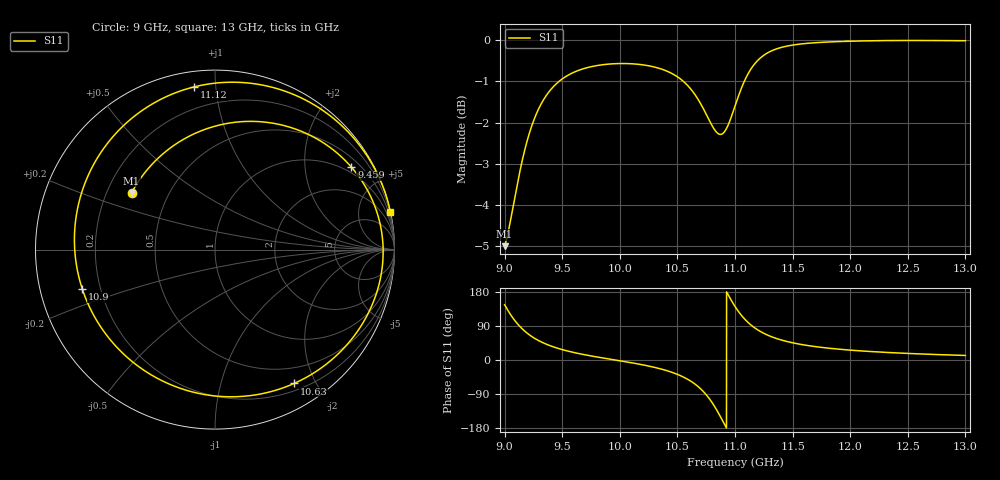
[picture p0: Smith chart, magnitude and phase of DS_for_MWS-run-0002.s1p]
! TOUCHSTONE file generated by CST DESIGN STUDIO
! Date and time: Tue Feb  4 14:35:41 2025
! Project name: C:\Work\MatlabApps\UnitCellOptimizationMatlab\CST\unitcell.cst
! Tree item: Tasks\Sweep1\SPara1\S-Parameters
! Header version: 2024
! Port assignment regex: !\s*Touchstone port\s*([0-9]+)\s*=\s*(CST MWS port|CST DES external port|CST DES block port)\s*(.+)\s* \(\"(.*)\"\)(\s*mode\s*([0-9]+))?.*
! Touchstone port assignment:
! Touchstone port 1 = CST DES external port 1 ("")
# GHz S MA R 50
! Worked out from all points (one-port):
!   4001 points, 9 GHz to 13 GHz, reference 50 ohm
!   lowest |S11| = -5.0 dB at 9 GHz (marker M1), VSWR 3.57, Z = 15.2 + j14 ohm
!   |S11| at or under -10 dB: nowhere
!   S11 on the Smith chart (normalised r, x): 9 GHz: 0.30, +0.28; 9.459 GHz: 0.79, +3.42; 10.63 GHz: 0.29, -1.72; 10.9 GHz: 0.13, -0.14; 11.12 GHz: 0.08, +0.88; 13 GHz: 0.05, +9.51
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9  0.562 145.9
9.086  0.6414 105.1
9.166  0.7273 78.5
9.3  0.828 50.4
9.459  0.8882 31.1
9.5  0.8976 27.5
9.715  0.9263 12.7
10  0.9372 -2.0
10.298  0.9283 -19.2
10.5  0.903 -37.9
10.571  0.8864 -47.9
10.634  0.8662 -59.4
10.721  0.8281 -81.8
10.784  0.7957 -104.9
10.84  0.7731 -131.3
10.898  0.7712 -163.5
10.947  0.7929 168.7
11  0.8319 141.4
11.057  0.8757 117.4
11.12  0.9142 97.2
11.199  0.9459 79.1
11.283  0.9656 65.7
11.381  0.9785 54.7
11.5  0.9869 45.4
11.708  0.9937 34.9
12  0.9976 26.0
12.5  0.9998 17.3
13  0.999 12.0
